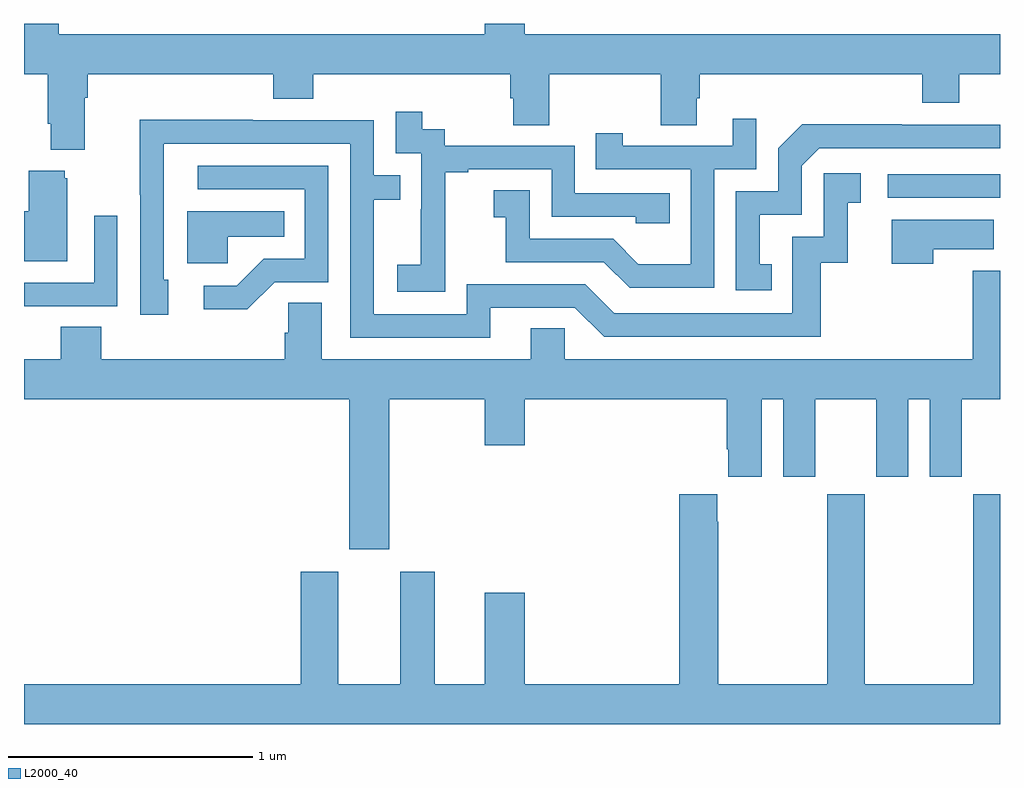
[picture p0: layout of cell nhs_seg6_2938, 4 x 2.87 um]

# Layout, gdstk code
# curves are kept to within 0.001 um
import gdstk
lib = gdstk.Library(unit=1e-6, precision=1e-09)
def R(c, l, rs):  # rectangles x0, y0, x1, y1
    for r in rs: c.add(gdstk.rectangle(r[:2], r[2:], *l))
def P(c, l, *ps):  # polygons
    for p in ps: c.add(gdstk.Polygon(p, *l))
L2000_40 = (2000, 40)

nhs_seg6_2938 = lib.new_cell('nhs_seg6_2938')
R(nhs_seg6_2938, L2000_40, [(286.539,990.786,287,990.882)])
P(nhs_seg6_2938, L2000_40, [(283.249,991.196),(283.262,991.196),(283.262,991.292),(284.021,991.292),(284.021,991.193),(284.186,991.193),(284.186,991.292),(284.993,991.292),(284.993,991.194),(285.005,991.194),(285.005,991.084),(285.153,991.084),(285.153,991.292),(285.61,991.292),(285.61,991.084),(285.757,991.084),(285.757,991.194),(285.77,991.194),(285.77,991.292),(286.682,991.292),(286.682,991.175),(286.834,991.175),(286.834,991.292),(287,991.292),(287,991.456),(285.052,991.456),(285.052,991.5),(284.888,991.5),(284.888,991.456),(283.142,991.456),(283.142,991.5),(283,991.5),(283,991.292),(283.097,991.292),(283.097,991.09),(283.109,991.09),(283.109,990.983),(283.249,990.983)],
  [(284.727,990.607),(284.726,990.607),(284.726,990.891),(284.821,990.891),(284.821,990.903),(285.162,990.903),(285.162,990.708),(285.507,990.708),(285.507,990.681),(285.647,990.681),(285.647,990.804),(285.258,990.804),(285.258,990.999),(284.724,990.999),(284.724,991.068),(284.632,991.068),(284.632,991.138),(284.523,991.138),(284.523,990.969),(284.628,990.969),(284.628,990.74),(284.627,990.74),(284.627,990.511),(284.529,990.511),(284.529,990.401),(284.727,990.401)],
  [(285.828,990.903),(286.002,990.903),(286.002,991.111),(285.905,991.111),(285.905,990.999),(285.454,990.999),(285.454,991.051),(285.343,991.051),(285.343,990.903),(285.732,990.903),(285.732,990.514),(285.518,990.514),(285.414,990.618),(285.072,990.618),(285.072,990.817),(284.925,990.817),(284.925,990.707),(284.974,990.707),(284.974,990.522),(285.377,990.522),(285.482,990.417),(285.828,990.417)],
  [(284.911,990.336),(285.258,990.336),(285.378,990.216),(286.265,990.216),(286.265,990.519),(286.376,990.519),(286.376,990.765),(286.429,990.765),(286.429,990.886),(286.278,990.886),(286.278,990.627),(286.149,990.627),(286.149,990.312),(285.42,990.312),(285.3,990.432),(284.814,990.432),(284.814,990.309),(284.433,990.309),(284.433,990.778),(284.543,990.778),(284.543,990.879),(284.433,990.879),(284.433,991.104),(283.937,991.104),(283.937,991.106),(283.474,991.106),(283.474,990.799),(283.476,990.799),(283.476,990.306),(283.591,990.306),(283.591,990.45),(283.572,990.45),(283.573,991.008),(284.337,991.008),(284.337,990.213),(284.911,990.213)],
  [(286.064,990.513),(286.015,990.513),(286.015,990.717),(286.188,990.717),(286.188,990.918),(286.26,990.99),(287,990.99),(287,991.086),(286.598,991.086),(286.598,991.088),(286.19,991.088),(286.092,990.99),(286.092,990.813),(285.918,990.813),(285.918,990.408),(286.064,990.408)],
  [(284.028,990.441),(284.247,990.441),(284.247,990.918),(283.713,990.918),(283.713,990.822),(284.151,990.822),(284.151,990.537),(283.982,990.537),(283.871,990.426),(283.737,990.426),(283.737,990.329),(283.915,990.329)],
  [(283.177,990.867),(283.166,990.867),(283.166,990.898),(283.019,990.898),(283.019,990.73),(283,990.73),(283,990.527),(283.177,990.527)],
  [(283.836,990.626),(284.066,990.626),(284.066,990.73),(283.67,990.73),(283.67,990.518),(283.836,990.518)],
  [(283.067,990.342),(283.383,990.342),(283.383,990.712),(283.287,990.712),(283.287,990.438),(283,990.438),(283,990.341),(283.067,990.341)],
  [(286.727,990.575),(286.975,990.575),(286.975,990.697),(286.556,990.697),(286.556,990.516),(286.727,990.516)],
  [(284.497,989.96),(284.888,989.96),(284.888,989.772),(285.052,989.772),(285.052,989.96),(285.881,989.96),(285.881,989.755),(285.887,989.755),(285.887,989.643),(286.024,989.643),(286.024,989.96),(286.112,989.96),(286.112,989.643),(286.243,989.643),(286.243,989.96),(286.493,989.96),(286.493,989.643),(286.624,989.643),(286.624,989.96),(286.712,989.96),(286.712,989.643),(286.843,989.643),(286.843,989.96),(287,989.96),(287,990.487),(286.889,990.487),(286.889,990.124),(285.216,990.124),(285.216,990.251),(285.077,990.251),(285.077,990.124),(284.221,990.124),(284.221,990.356),(284.082,990.356),(284.082,990.233),(284.069,990.233),(284.069,990.124),(283.316,990.124),(283.316,990.257),(283.151,990.257),(283.151,990.124),(283,990.124),(283,989.96),(284.333,989.96),(284.333,989.346),(284.497,989.346)],
  [(287,989.572),(286.891,989.572),(286.891,988.792),(286.446,988.792),(286.446,989.572),(286.291,989.572),(286.291,988.792),(285.846,988.792),(285.846,989.459),(285.841,989.459),(285.841,989.572),(285.686,989.572),(285.686,988.792),(285.052,988.792),(285.052,989.167),(284.888,989.167),(284.888,988.792),(284.683,988.792),(284.683,989.254),(284.543,989.254),(284.543,988.792),(284.287,988.792),(284.287,989.254),(284.135,989.254),(284.135,988.792),(283,988.792),(283,988.628),(287,988.628)])

lib.write_gds('nhs_seg6_2938.gds')
